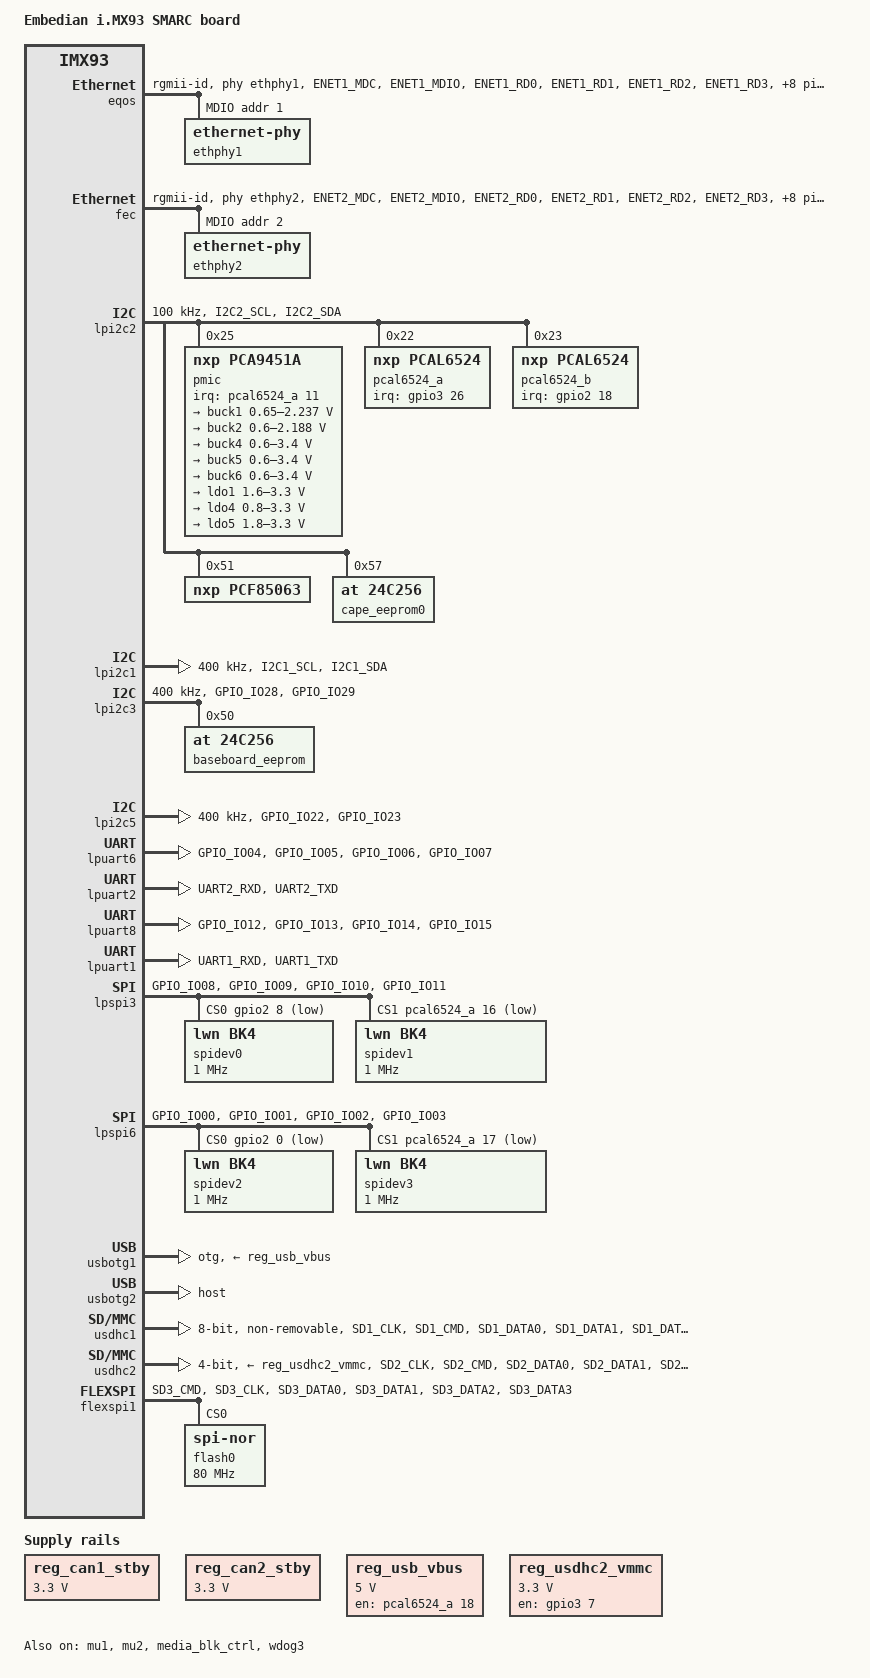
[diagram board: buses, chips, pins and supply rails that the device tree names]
// SPDX-License-Identifier: (GPL-2.0+ OR MIT)
/*
 * Copyright 2022 NXP
 * Copyright 2024 EMBEDIAN
 */

/dts-v1/;

#include <dt-bindings/usb/pd.h>
#include "imx93.dtsi"

/ {
	model = "Embedian i.MX93 SMARC board";
	compatible = "embedian,imx93-smarc", "fsl,imx93";

	aliases {
		rtc0 = &pcf85063;
		ethernet1 = &fec;	/* Let eth1addr mac address pass from U-Boot EEPROM */
	 };

	chosen {
	#if defined(CONFIG_CONSOLE_SER3)
		bootargs = "console=ttyLP0,115200";
		stdout-path = &lpuart1;
	#endif
	#if defined(CONFIG_CONSOLE_SER2)
		bootargs = "console=ttyLP7,115200";
		stdout-path = &lpuart8;
	#endif
	#if defined(CONFIG_CONSOLE_SER1)
		bootargs = "console=ttyLP1,115200";
		stdout-path = &lpuart2;
	#endif
	#if defined(CONFIG_CONSOLE_SER0)
		bootargs = "console=ttyLP5,115200";
		stdout-path = &lpuart6;
	#endif
	};

	reserved-memory {
		#address-cells = <2>;
		#size-cells = <2>;
		ranges;

		linux,cma {
			compatible = "shared-dma-pool";
			reusable;
			alloc-ranges = <0 0x80000000 0 0x40000000>;
			size = <0 0x10000000>;
			linux,cma-default;
		};
	};

	reg_can1_stby: regulator-can1-stby {
		compatible = "regulator-fixed";
		regulator-name = "can1-stby";
		regulator-min-microvolt = <3300000>;
		regulator-max-microvolt = <3300000>;
	};

	reg_can2_stby: regulator-can2-stby {
		compatible = "regulator-fixed";
		regulator-name = "can2-stby";
		regulator-min-microvolt = <3300000>;
		regulator-max-microvolt = <3300000>;
	};

	reg_usb_vbus: regulator-vbus {
		compatible = "regulator-fixed";
		regulator-name = "USB_VBUS";
		regulator-min-microvolt = <5000000>;
		regulator-max-microvolt = <5000000>;
		gpio = <&pcal6524_a 18 GPIO_ACTIVE_HIGH>;
		enable-active-high;
		regulator-always-on;
	};

	reg_usdhc2_vmmc: regulator-usdhc2 {
		compatible = "regulator-fixed";
		pinctrl-names = "default";
		pinctrl-0 = <&pinctrl_reg_usdhc2_vmmc>;
		regulator-name = "VSD_3V3";
		regulator-min-microvolt = <3300000>;
		regulator-max-microvolt = <3300000>;
		gpio = <&gpio3 7 GPIO_ACTIVE_HIGH>;
		off-on-delay-us = <12000>;
		enable-active-high;
	};

	dsi_host: dsi-host {
		compatible = "synopsys,dw-mipi-dsi";
		status = "disabled";
	};

	rm67199_panel {
		compatible = "raydium,rm67199";
		dsi-lanes = <4>;
		video-mode = <2>;	/* 0: burst mode
					 * 1: non-burst mode with sync event
					 * 2: non-burst mode with sync pulse
					 */
		width-mm = <68>;
		height-mm = <121>;
		status = "disabled";

		port {
			panel_in: endpoint {
				remote-endpoint = <&dsi_out>;
			};
		};
	};
};

&dphy {
	status = "disabled";
};

&dsi {
	status = "disabled";

	ports {
		port@1 {
			dsi_out: endpoint {
				remote-endpoint = <&panel_in>;
			};
		};
	};
};

&mu1 {
	status = "okay";
};

&mu2 {
	status = "okay";
};

&eqos {
	pinctrl-names = "default";
	pinctrl-0 = <&pinctrl_eqos>;
	phy-mode = "rgmii-id";
	phy-handle = <&ethphy1>;
	status = "okay";

	mdio {
		compatible = "snps,dwmac-mdio";
		#address-cells = <1>;
		#size-cells = <0>;
		clock-frequency = <5000000>;

		ethphy1: ethernet-phy@1 {
			reg = <1>;
			eee-broken-1000t;
		};
	};
};

&fec {
	pinctrl-names = "default";
	pinctrl-0 = <&pinctrl_fec>;
	phy-mode = "rgmii-id";
	phy-handle = <&ethphy2>;
	fsl,magic-packet;
	status = "okay";

	mdio {
		#address-cells = <1>;
		#size-cells = <0>;
		clock-frequency = <5000000>;

		ethphy2: ethernet-phy@2 {
			reg = <2>;
			eee-broken-1000t;
		};
	};
};

&lcdif {
	status = "disabled";

	assigned-clock-rates = <484000000>, <121000000>, <400000000>, <133333333>;
};

/* I2C_PM */
&lpi2c2 {
	#address-cells = <1>;
	#size-cells = <0>;
	clock-frequency = <100000>;
	pinctrl-names = "default", "sleep";
	pinctrl-0 = <&pinctrl_lpi2c2>;
	pinctrl-1 = <&pinctrl_lpi2c2>;
	status = "okay";

	pmic@25 {
		compatible = "nxp,pca9451a";
		reg = <0x25>;
		interrupt-parent = <&pcal6524_a>;
		interrupts = <11 IRQ_TYPE_EDGE_FALLING>;

		regulators {
			buck1: BUCK1 {
				regulator-name = "BUCK1";
				regulator-min-microvolt = <650000>;
				regulator-max-microvolt = <2237500>;
				regulator-boot-on;
				regulator-always-on;
				regulator-ramp-delay = <3125>;
			};

			buck2: BUCK2 {
				regulator-name = "BUCK2";
				regulator-min-microvolt = <600000>;
				regulator-max-microvolt = <2187500>;
				regulator-boot-on;
				regulator-always-on;
				regulator-ramp-delay = <3125>;
			};

			buck4: BUCK4{
				regulator-name = "BUCK4";
				regulator-min-microvolt = <600000>;
				regulator-max-microvolt = <3400000>;
				regulator-boot-on;
				regulator-always-on;
			};

			buck5: BUCK5{
				regulator-name = "BUCK5";
				regulator-min-microvolt = <600000>;
				regulator-max-microvolt = <3400000>;
				regulator-boot-on;
				regulator-always-on;
			};

			buck6: BUCK6 {
				regulator-name = "BUCK6";
				regulator-min-microvolt = <600000>;
				regulator-max-microvolt = <3400000>;
				regulator-boot-on;
				regulator-always-on;
			};

			ldo1: LDO1 {
				regulator-name = "LDO1";
				regulator-min-microvolt = <1600000>;
				regulator-max-microvolt = <3300000>;
				regulator-boot-on;
				regulator-always-on;
			};

			ldo4: LDO4 {
				regulator-name = "LDO4";
				regulator-min-microvolt = <800000>;
				regulator-max-microvolt = <3300000>;
				regulator-boot-on;
				regulator-always-on;
			};

			ldo5: LDO5 {
				regulator-name = "LDO5";
				regulator-min-microvolt = <1800000>;
				regulator-max-microvolt = <3300000>;
				regulator-boot-on;
				regulator-always-on;
			};
		};
	};

	/*
	 * PCAL6524 24-port GPIO expander
	 *  0-W_DISABLE1#
	 *  1-SD_INT#
	 *  2-WL_RESET#
	 *  3-BT_RESET#
	 *  4-WL_WAKE_OUT#
	 *  5-BT_WAKE_OUT#
	 *  6-WL_WAKE_IN#
	 *  7-BT_WAKE_IN#
	 *  8-TPM_IRQ#
	 *  9-TPM_PP#
	 * 10-SD2_WP#
	 * 11-PMIC_INT#
	 * 12-WLAN_PWR_EN
	 * 13-ENET1_INT#
	 * 14-ENET2_INT#
	 * 15-x
	 * 16-SPI0_CS1
	 * 17-eSPI_CS1
	 * 18-USB1_EN
	 * 19-USB1_OC#
	 * 20-LCD0_VDD_EN
	 * 21-LCD0_BKLT_EN
	 * 22-LCD1_VDD_EN
	 * 23-LCD1_BKLT_EN
	 */
	pcal6524_a: gpio@22 {
		compatible = "nxp,pcal6524";
		pinctrl-names = "default";
		pinctrl-0 = <&pinctrl_pcal6524_a>;
		reg = <0x22>;
		gpio-controller;
		#gpio-cells = <2>;
		interrupt-controller;
		#interrupt-cells = <2>;
		interrupt-parent = <&gpio3>;
		interrupts = <26 IRQ_TYPE_LEVEL_LOW>;

		w_disable1_hog {
			gpio-hog;
			gpios = <0 GPIO_ACTIVE_LOW>;
			output-high;
			line-name = "w_disable1";
		};

		sd_int_hog {
			gpio-hog;
			gpios = <1 GPIO_ACTIVE_LOW>;
			input;
			line-name = "sd_int";
		};

		wl_reset_hog {
			gpio-hog;
			gpios = <2 GPIO_ACTIVE_LOW>;
			output-high;
			line-name = "wl_reset";
		};

		bt_reset_hog {
			gpio-hog;
			gpios = <3 GPIO_ACTIVE_LOW>;
			output-high;
			line-name = "bt_reset";
		};

		wl_wake_out_hog {
			gpio-hog;
			gpios = <4 GPIO_ACTIVE_LOW>;
			output-low;
			line-name = "wl_wake_out";
		};

		bt_wake_out_hog {
			gpio-hog;
			gpios = <5 GPIO_ACTIVE_LOW>;
			output-low;
			line-name = "bt_wake_out";
		};

		wl_wake_in_hog {
			gpio-hog;
			gpios = <6 GPIO_ACTIVE_LOW>;
			input;
			line-name = "wl_wake_in";
		};

		bt_wake_in_hog {
			gpio-hog;
			gpios = <7 GPIO_ACTIVE_LOW>;
			input;
			line-name = "bt_wake_in";
		};

		tpm_irq_hog {
			gpio-hog;
			gpios = <8 GPIO_ACTIVE_LOW>;
			input;
			line-name = "tpm_irq";
		};

		tpm_pp_hog {
			gpio-hog;
			gpios = <9 GPIO_ACTIVE_HIGH>;
			output-high;
			line-name = "tpm_pp";
		};

		sd2_wp_hog {
			gpio-hog;
			gpios = <10 GPIO_ACTIVE_HIGH>;
			input;
			line-name = "sd2_wp";
		};

		pmic_int_hog {
			gpio-hog;
			gpios = <11 GPIO_ACTIVE_LOW>;
			input;
			line-name = "pmic_int";
		};

		enet1_int_hog {
			gpio-hog;
			gpios = <13 GPIO_ACTIVE_LOW>;
			input;
			line-name = "enet1_init";
		};

		enet2_int_hog {
			gpio-hog;
			gpios = <14 GPIO_ACTIVE_LOW>;
			input;
			line-name = "enet2_init";
		};

		usb0_en_hog {
			gpio-hog;
			gpios = <18 GPIO_ACTIVE_HIGH>;
			output-high;
			line-name = "usb0_en";
		};

		usb0_oc_hog {
			gpio-hog;
			gpios = <19 GPIO_ACTIVE_LOW>;
			input;
			line-name = "usb0_oc";
		};

		/*lcd0_vdd_en_hog {
			gpio-hog;
			gpios = <20 GPIO_ACTIVE_HIGH>;
			output-high;
			line-name = "lcd0_vdd_en";
		};*/

		/*lcd0_bklt_en_hog {
			gpio-hog;
			gpios = <21 GPIO_ACTIVE_HIGH>;
			output-high;
			line-name = "lcd0_bklt_en";
		};

		lcd1_vdd_en_hog {
			gpio-hog;
			gpios = <22 GPIO_ACTIVE_HIGH>;
			output-high;
			line-name = "lcd1_vdd_en";
		};

		lcd1_bklt_en_hog {
			gpio-hog;
			gpios = <23 GPIO_ACTIVE_HIGH>;
			output-high;
			line-name = "lcd1_bklt_en";
		};*/
	};

	/*
	 * PCAL6524 24-port GPIO expander
	 *  0-GPIO0
	 *  1-GPIO1
	 *  2-GPIO2
	 *  3-GPIO3
	 *  4-GPIO4
	 *  5-GPIO6
	 *  6-GPIO7
	 *  7-GPIO8
	 *  8-GPIO9
	 *  9-GPIO10
	 * 10-GPIO11
	 * 11-GPIO12
	 * 12-GPIO13
	 * 13-x
	 * 14-x
	 * 15-IMX_RESET_OUT
	 * 16-LID#
	 * 17-SLEEP#
	 * 18-CHARGING#
	 * 19-BATLOW#
	 * 20-CHARGER_PRSNT#
	 * 21-BOOT_SEL0#
	 * 22-BOOT_SEL1#
	 * 23-BOOT_SEL2#
	 */
	pcal6524_b: gpio@23 {
		compatible = "nxp,pcal6524";
		pinctrl-names = "default";
		pinctrl-0 = <&pinctrl_pcal6524_b>;
		reg = <0x23>;
		gpio-controller;
		#gpio-cells = <2>;
		interrupt-controller;
		#interrupt-cells = <2>;
		interrupt-parent = <&gpio2>;
		interrupts = <18 IRQ_TYPE_LEVEL_LOW>;

		gpio0_hog {
			gpio-hog;
			gpios = <0 GPIO_ACTIVE_HIGH>;
			output-low;
			line-name = "gpio0";
		};

		gpio1_hog {
			gpio-hog;
			gpios = <1 GPIO_ACTIVE_HIGH>;
			output-low;
			line-name = "gpio1";
		};

		gpio2_hog {
			gpio-hog;
			gpios = <2 GPIO_ACTIVE_HIGH>;
			output-low;
			line-name = "gpio2";
		};

		gpio3_hog {
			gpio-hog;
			gpios = <3 GPIO_ACTIVE_HIGH>;
			output-low;
			line-name = "gpio3";
		};

		gpio4_hog {
			gpio-hog;
			gpios = <4 GPIO_ACTIVE_HIGH>;
			output-low;
			line-name = "gpio4";
		};

		gpio6_hog {
			gpio-hog;
			gpios = <5 GPIO_ACTIVE_HIGH>;
			input;
			line-name = "gpio6";
		};

		gpio7_hog {
			gpio-hog;
			gpios = <6 GPIO_ACTIVE_HIGH>;
			input;
			line-name = "gpio7";
		};

		gpio8_hog {
			gpio-hog;
			gpios = <7 GPIO_ACTIVE_HIGH>;
			input;
			line-name = "gpio8";
		};

		gpio9_hog {
			gpio-hog;
			gpios = <8 GPIO_ACTIVE_HIGH>;
			input;
			line-name = "gpio9";
		};

		gpio10_hog {
			gpio-hog;
			gpios = <9 GPIO_ACTIVE_HIGH>;
			input;
			line-name = "gpio10";
		};

		gpio11_hog {
			gpio-hog;
			gpios = <10 GPIO_ACTIVE_HIGH>;
			input;
			line-name = "gpio11";
		};

		gpio12_hog {
			gpio-hog;
			gpios = <11 GPIO_ACTIVE_HIGH>;
			input;
			line-name = "gpio12";
		};

		gpio13_hog {
			gpio-hog;
			gpios = <12 GPIO_ACTIVE_HIGH>;
			input;
			line-name = "gpio13";
		};

		imx_reset_out_hog {
			gpio-hog;
			gpios = <15 GPIO_ACTIVE_HIGH>;
			output-low;
			line-name = "imx_reset_out";
		};

		lid_hog {
			gpio-hog;
			gpios = <16 GPIO_ACTIVE_LOW>;
			input;
			line-name = "lid";
		};

		sleep_hog {
			gpio-hog;
			gpios = <17 GPIO_ACTIVE_LOW>;
			input;
			line-name = "sleep";
		};

		charging_hog {
			gpio-hog;
			gpios = <18 GPIO_ACTIVE_LOW>;
			input;
			line-name = "charging";
		};

		batlow_hog {
			gpio-hog;
			gpios = <19 GPIO_ACTIVE_LOW>;
			input;
			line-name = "batlow";
		};

		charger_prsnt_hog {
			gpio-hog;
			gpios = <20 GPIO_ACTIVE_LOW>;
			input;
			line-name = "charger_prsnt";
		};

		boot_sel0_hog {
			gpio-hog;
			gpios = <21 GPIO_ACTIVE_LOW>;
			input;
			line-name = "boot_sel0";
		};

		boot_sel1_hog {
			gpio-hog;
			gpios = <22 GPIO_ACTIVE_LOW>;
			input;
			line-name = "boot_sel1";
		};

		boot_sel2_hog {
			gpio-hog;
			gpios = <23 GPIO_ACTIVE_LOW>;
			input;
			line-name = "boot_sel2";
		};
	};

	pcf85063: rtc@51 {
		compatible = "nxp,pcf85063";
		reg = <0x51>;
	};

	cape_eeprom0: cape_eeprom@57 {
		compatible = "at,24c256";
		reg = <0x57>;
	};
};

/* I2C_CAM0 */
&lpi2c1 {
	#address-cells = <1>;
	#size-cells = <0>;
	clock-frequency = <400000>;
	pinctrl-names = "default", "sleep";
	pinctrl-0 = <&pinctrl_lpi2c1>;
	pinctrl-1 = <&pinctrl_lpi2c1>;
	status = "okay";
};

/* I2C_GP */
&lpi2c3 {
	#address-cells = <1>;
	#size-cells = <0>;
	clock-frequency = <400000>;
	pinctrl-names = "default", "sleep";
	pinctrl-0 = <&pinctrl_lpi2c3>;
	pinctrl-1 = <&pinctrl_lpi2c3>;
	status = "okay";

	baseboard_eeprom: baseboard_eeprom@50 {
		compatible = "at,24c256";
		reg = <0x50>;
	};
};

/* I2C_LCD */
&lpi2c5 {
	#address-cells = <1>;
	#size-cells = <0>;
	clock-frequency = <400000>;
	pinctrl-names = "default", "sleep";
	pinctrl-0 = <&pinctrl_lpi2c5>;
	pinctrl-1 = <&pinctrl_lpi2c5>;
	status = "okay";
};

&lpuart6 { /* SER0 */
	pinctrl-names = "default";
	pinctrl-0 = <&pinctrl_uart6>;
	status = "okay";
};

&lpuart2 { /* SER1 */
	pinctrl-names = "default";
	pinctrl-0 = <&pinctrl_uart2>;
	status = "okay";
};

&lpuart8 { /* SER2 */
	pinctrl-names = "default";
	pinctrl-0 = <&pinctrl_uart8>;
	status = "okay";
};

&lpuart1 { /* console, SER3 */
	pinctrl-names = "default";
	pinctrl-0 = <&pinctrl_uart1>;
	status = "okay";
};

/* SPI0 */
&lpspi3 {
	fsl,spi-num-chipselects = <2>;
	pinctrl-names = "default", "sleep";
	pinctrl-0 = <&pinctrl_lpspi3>;
	cs-gpios = <&gpio2 8 GPIO_ACTIVE_LOW>, <&pcal6524_a 16 GPIO_ACTIVE_LOW>;
	status = "okay";

	spidev0: spi@0 {
		reg = <0>;
		compatible = "lwn,bk4";
		spi-max-frequency = <1000000>;
	};

	spidev1: spi@1 {
		reg = <1>;
		compatible = "lwn,bk4";
		spi-max-frequency = <1000000>;
	};
};

/* eSPI */
&lpspi6 {
	fsl,spi-num-chipselects = <2>;
	pinctrl-names = "default", "sleep";
	pinctrl-0 = <&pinctrl_lpspi6>;
	cs-gpios = <&gpio2 0 GPIO_ACTIVE_LOW>, <&pcal6524_a 17 GPIO_ACTIVE_LOW>;
	status = "okay";

	spidev2: spi@0 {
		reg = <0>;
		compatible = "lwn,bk4";
		spi-max-frequency = <1000000>;
	};

	spidev3: spi@1 {
		reg = <1>;
		compatible = "lwn,bk4";
		spi-max-frequency = <1000000>;
	};
};

&media_blk_ctrl {
	status = "okay";
};

&usbotg1 {
	vbus-supply = <&reg_usb_vbus>;
	dr_mode = "otg";
	hnp-disable;
	srp-disable;
	adp-disable;
	usb-role-switch;
	disable-over-current;
	samsung,picophy-pre-emp-curr-control = <3>;
	samsung,picophy-dc-vol-level-adjust = <7>;
	status = "okay";
};

&usbotg2 {
	dr_mode = "host";
	hnp-disable;
	srp-disable;
	adp-disable;
	usb-role-switch;
	disable-over-current;
	samsung,picophy-pre-emp-curr-control = <3>;
	samsung,picophy-dc-vol-level-adjust = <7>;
	status = "okay";
};

&usdhc1 {
	pinctrl-names = "default", "state_100mhz", "state_200mhz";
	pinctrl-0 = <&pinctrl_usdhc1>;
	pinctrl-1 = <&pinctrl_usdhc1_100mhz>;
	pinctrl-2 = <&pinctrl_usdhc1_200mhz>;
	bus-width = <8>;
	non-removable;
	status = "okay";
};

&usdhc2 {
	pinctrl-names = "default", "state_100mhz", "state_200mhz";
	pinctrl-0 = <&pinctrl_usdhc2>, <&pinctrl_usdhc2_gpio>;
	pinctrl-1 = <&pinctrl_usdhc2_100mhz>, <&pinctrl_usdhc2_gpio>;
	pinctrl-2 = <&pinctrl_usdhc2_200mhz>, <&pinctrl_usdhc2_gpio>;
	cd-gpios = <&gpio3 00 GPIO_ACTIVE_LOW>;
	vmmc-supply = <&reg_usdhc2_vmmc>;
	bus-width = <4>;
	status = "okay";
	no-sdio;
	no-mmc;
};

&usdhc3 {
	status = "disabled";
};



&flexspi1 {
	pinctrl-names = "default";
	pinctrl-0 = <&pinctrl_flexspi>;
	assigned-clock-rates = <80000000>;
	status = "okay";

	flash0: flash@0 {
		reg = <0>;
		#address-cells = <1>;
		#size-cells = <1>;
		compatible = "jedec,spi-nor";
		spi-max-frequency = <80000000>;
		spi-tx-bus-width = <4>;
		spi-rx-bus-width = <4>;
	};
};

&iomuxc {
	pinctrl_flexcan2: flexcan2grp {
		fsl,pins = <
			MX93_PAD_GPIO_IO25__CAN2_TX	0x139e
			MX93_PAD_GPIO_IO27__CAN2_RX	0x139e
		>;
	};

	/* I2C_CAM0 */
	pinctrl_lpi2c1: lpi2c1grp {
		fsl,pins = <
			MX93_PAD_I2C1_SCL__LPI2C1_SCL			0x40000b9e
			MX93_PAD_I2C1_SDA__LPI2C1_SDA			0x40000b9e
		>;
	};

	pinctrl_lpi2c2: lpi2c2grp {
		fsl,pins = <
			MX93_PAD_I2C2_SCL__LPI2C2_SCL			0x40000b9e
			MX93_PAD_I2C2_SDA__LPI2C2_SDA			0x40000b9e
		>;
	};

	pinctrl_pcal6524_a: pcal6524_agrp {
		fsl,pins = <
			MX93_PAD_CCM_CLKO1__GPIO3_IO26			0x31e
		>;
	};

	pinctrl_pcal6524_b: pcal6524_bgrp {
		fsl,pins = <
			MX93_PAD_GPIO_IO18__GPIO2_IO18			0x31e
		>;
	};

	pinctrl_eqos: eqosgrp {
		fsl,pins = <
			MX93_PAD_ENET1_MDC__ENET_QOS_MDC			0x57e
			MX93_PAD_ENET1_MDIO__ENET_QOS_MDIO			0x57e
			MX93_PAD_ENET1_RD0__ENET_QOS_RGMII_RD0			0x57e
			MX93_PAD_ENET1_RD1__ENET_QOS_RGMII_RD1			0x57e
			MX93_PAD_ENET1_RD2__ENET_QOS_RGMII_RD2			0x57e
			MX93_PAD_ENET1_RD3__ENET_QOS_RGMII_RD3			0x57e
			MX93_PAD_ENET1_RXC__CCM_ENET_QOS_CLOCK_GENERATE_RX_CLK	0x5fe
			MX93_PAD_ENET1_RX_CTL__ENET_QOS_RGMII_RX_CTL		0x57e
			MX93_PAD_ENET1_TD0__ENET_QOS_RGMII_TD0			0x57e
			MX93_PAD_ENET1_TD1__ENET_QOS_RGMII_TD1			0x57e
			MX93_PAD_ENET1_TD2__ENET_QOS_RGMII_TD2			0x57e
			MX93_PAD_ENET1_TD3__ENET_QOS_RGMII_TD3			0x57e
			MX93_PAD_ENET1_TXC__CCM_ENET_QOS_CLOCK_GENERATE_TX_CLK	0x5fe
			MX93_PAD_ENET1_TX_CTL__ENET_QOS_RGMII_TX_CTL		0x57e
		>;
	};

	pinctrl_flexspi: flexspigrp {
		fsl,pins = <
			MX93_PAD_SD3_CMD__FLEXSPI1_A_SS0_B      0x3fe
			MX93_PAD_SD3_CLK__FLEXSPI1_A_SCLK       0x3fe
			MX93_PAD_SD3_DATA0__FLEXSPI1_A_DATA00   0x3fe
			MX93_PAD_SD3_DATA1__FLEXSPI1_A_DATA01   0x3fe
			MX93_PAD_SD3_DATA2__FLEXSPI1_A_DATA02   0x3fe
			MX93_PAD_SD3_DATA3__FLEXSPI1_A_DATA03   0x3fe
		>;
	};

	pinctrl_lpi2c3: lpi2c3grp {
		fsl,pins = <
			MX93_PAD_GPIO_IO28__LPI2C3_SDA			0x40000b9e
			MX93_PAD_GPIO_IO29__LPI2C3_SCL			0x40000b9e
		>;
	};

	pinctrl_lpi2c5: lpi2c5grp {
		fsl,pins = <
			MX93_PAD_GPIO_IO22__LPI2C5_SDA			0x40000b9e
			MX93_PAD_GPIO_IO23__LPI2C5_SCL			0x40000b9e
		>;
	};

	pinctrl_fec: fecgrp {
		fsl,pins = <
			MX93_PAD_ENET2_MDC__ENET1_MDC			0x57e
			MX93_PAD_ENET2_MDIO__ENET1_MDIO			0x57e
			MX93_PAD_ENET2_RD0__ENET1_RGMII_RD0		0x57e
			MX93_PAD_ENET2_RD1__ENET1_RGMII_RD1		0x57e
			MX93_PAD_ENET2_RD2__ENET1_RGMII_RD2		0x57e
			MX93_PAD_ENET2_RD3__ENET1_RGMII_RD3		0x57e
			MX93_PAD_ENET2_RXC__ENET1_RGMII_RXC		0x5fe
			MX93_PAD_ENET2_RX_CTL__ENET1_RGMII_RX_CTL	0x57e
			MX93_PAD_ENET2_TD0__ENET1_RGMII_TD0		0x57e
			MX93_PAD_ENET2_TD1__ENET1_RGMII_TD1		0x57e
			MX93_PAD_ENET2_TD2__ENET1_RGMII_TD2		0x57e
			MX93_PAD_ENET2_TD3__ENET1_RGMII_TD3		0x57e
			MX93_PAD_ENET2_TXC__ENET1_RGMII_TXC		0x5fe
			MX93_PAD_ENET2_TX_CTL__ENET1_RGMII_TX_CTL	0x57e
		>;
	};

	pinctrl_uart1: uart1grp {
		fsl,pins = <
			MX93_PAD_UART1_RXD__LPUART1_RX			0x31e
			MX93_PAD_UART1_TXD__LPUART1_TX			0x31e
		>;
	};

	pinctrl_uart2: uart2grp {
		fsl,pins = <
			MX93_PAD_UART2_RXD__LPUART2_RX			0x31e
			MX93_PAD_UART2_TXD__LPUART2_TX			0x31e
		>;
	};

	pinctrl_uart6: uart6grp {
		fsl,pins = <
			MX93_PAD_GPIO_IO04__LPUART6_TX	0x31e
			MX93_PAD_GPIO_IO05__LPUART6_RX	0x31e
			MX93_PAD_GPIO_IO06__LPUART6_CTS_B	0x31e
			MX93_PAD_GPIO_IO07__LPUART6_RTS_B	0x31e
		>;
	};

	pinctrl_uart8: uart8grp {
		fsl,pins = <
			MX93_PAD_GPIO_IO12__LPUART8_TX	0x31e
			MX93_PAD_GPIO_IO13__LPUART8_RX	0x31e
			MX93_PAD_GPIO_IO14__LPUART8_CTS_B	0x31e
			MX93_PAD_GPIO_IO15__LPUART8_RTS_B	0x31e
		>;
	};

	pinctrl_pwm_lvds0: pwmlvds0grp {
		fsl,pins = <
			MX93_PAD_GPIO_IO24__TPM3_CH3		0x57e
		>;
	};

	pinctrl_pwm_lvds1: pwmlvds1grp {
		fsl,pins = <
			MX93_PAD_GPIO_IO21__TPM4_CH1		0x57e
		>;
	};

	pinctrl_lpspi3: lpspi3grp {
		fsl,pins = <
			MX93_PAD_GPIO_IO08__GPIO2_IO08		0x3fe
			MX93_PAD_GPIO_IO09__LPSPI3_SIN		0x3fe
			MX93_PAD_GPIO_IO10__LPSPI3_SOUT		0x3fe
			MX93_PAD_GPIO_IO11__LPSPI3_SCK		0x3fe
		>;
	};

	pinctrl_lpspi6: lpspi6grp {
		fsl,pins = <
			MX93_PAD_GPIO_IO00__GPIO2_IO00		0x3fe
			MX93_PAD_GPIO_IO01__LPSPI6_SIN		0x3fe
			MX93_PAD_GPIO_IO02__LPSPI6_SOUT		0x3fe
			MX93_PAD_GPIO_IO03__LPSPI6_SCK		0x3fe
		>;
	};

	/* need to config the SION for data and cmd pad, refer to ERR052021 */
	pinctrl_usdhc1: usdhc1grp {
		fsl,pins = <
			MX93_PAD_SD1_CLK__USDHC1_CLK		0x1582
			MX93_PAD_SD1_CMD__USDHC1_CMD		0x40001382
			MX93_PAD_SD1_DATA0__USDHC1_DATA0	0x40001382
			MX93_PAD_SD1_DATA1__USDHC1_DATA1	0x40001382
			MX93_PAD_SD1_DATA2__USDHC1_DATA2	0x40001382
			MX93_PAD_SD1_DATA3__USDHC1_DATA3	0x40001382
			MX93_PAD_SD1_DATA4__USDHC1_DATA4	0x40001382
			MX93_PAD_SD1_DATA5__USDHC1_DATA5	0x40001382
			MX93_PAD_SD1_DATA6__USDHC1_DATA6	0x40001382
			MX93_PAD_SD1_DATA7__USDHC1_DATA7	0x40001382
			MX93_PAD_SD1_STROBE__USDHC1_STROBE	0x1582
		>;
	};

	/* need to config the SION for data and cmd pad, refer to ERR052021 */
	pinctrl_usdhc1_100mhz: usdhc1-100mhzgrp {
		fsl,pins = <
			MX93_PAD_SD1_CLK__USDHC1_CLK		0x158e
			MX93_PAD_SD1_CMD__USDHC1_CMD		0x4000138e
			MX93_PAD_SD1_DATA0__USDHC1_DATA0	0x4000138e
			MX93_PAD_SD1_DATA1__USDHC1_DATA1	0x4000138e
			MX93_PAD_SD1_DATA2__USDHC1_DATA2	0x4000138e
			MX93_PAD_SD1_DATA3__USDHC1_DATA3	0x4000138e
			MX93_PAD_SD1_DATA4__USDHC1_DATA4	0x4000138e
			MX93_PAD_SD1_DATA5__USDHC1_DATA5	0x4000138e
			MX93_PAD_SD1_DATA6__USDHC1_DATA6	0x4000138e
			MX93_PAD_SD1_DATA7__USDHC1_DATA7	0x4000138e
			MX93_PAD_SD1_STROBE__USDHC1_STROBE	0x158e
		>;
	};

	/* need to config the SION for data and cmd pad, refer to ERR052021 */
	pinctrl_usdhc1_200mhz: usdhc1-200mhzgrp {
		fsl,pins = <
			MX93_PAD_SD1_CLK__USDHC1_CLK		0x15fe
			MX93_PAD_SD1_CMD__USDHC1_CMD		0x400013fe
			MX93_PAD_SD1_DATA0__USDHC1_DATA0	0x400013fe
			MX93_PAD_SD1_DATA1__USDHC1_DATA1	0x400013fe
			MX93_PAD_SD1_DATA2__USDHC1_DATA2	0x400013fe
			MX93_PAD_SD1_DATA3__USDHC1_DATA3	0x400013fe
			MX93_PAD_SD1_DATA4__USDHC1_DATA4	0x400013fe
			MX93_PAD_SD1_DATA5__USDHC1_DATA5	0x400013fe
			MX93_PAD_SD1_DATA6__USDHC1_DATA6	0x400013fe
			MX93_PAD_SD1_DATA7__USDHC1_DATA7	0x400013fe
			MX93_PAD_SD1_STROBE__USDHC1_STROBE	0x15fe
		>;
	};

	pinctrl_reg_usdhc2_vmmc: regusdhc2vmmcgrp {
		fsl,pins = <
			MX93_PAD_SD2_RESET_B__GPIO3_IO07	0x31e
		>;
	};

	pinctrl_usdhc2_gpio: usdhc2gpiogrp {
		fsl,pins = <
			MX93_PAD_SD2_CD_B__GPIO3_IO00		0x51e
		>;
	};

	/* need to config the SION for data and cmd pad, refer to ERR052021 */
	pinctrl_usdhc2: usdhc2grp {
		fsl,pins = <
			MX93_PAD_SD2_CLK__USDHC2_CLK		0x1582
			MX93_PAD_SD2_CMD__USDHC2_CMD		0x40001382
			MX93_PAD_SD2_DATA0__USDHC2_DATA0	0x40001382
			MX93_PAD_SD2_DATA1__USDHC2_DATA1	0x40001382
			MX93_PAD_SD2_DATA2__USDHC2_DATA2	0x40001382
			MX93_PAD_SD2_DATA3__USDHC2_DATA3	0x40001382
			MX93_PAD_SD2_VSELECT__USDHC2_VSELECT	0x51e
		>;
	};

	/* need to config the SION for data and cmd pad, refer to ERR052021 */
	pinctrl_usdhc2_100mhz: usdhc2-100mhzgrp {
		fsl,pins = <
			MX93_PAD_SD2_CLK__USDHC2_CLK		0x158e
			MX93_PAD_SD2_CMD__USDHC2_CMD		0x4000138e
			MX93_PAD_SD2_DATA0__USDHC2_DATA0	0x4000138e
			MX93_PAD_SD2_DATA1__USDHC2_DATA1	0x4000138e
			MX93_PAD_SD2_DATA2__USDHC2_DATA2	0x4000138e
			MX93_PAD_SD2_DATA3__USDHC2_DATA3	0x4000138e
			MX93_PAD_SD2_VSELECT__USDHC2_VSELECT	0x51e
		>;
	};

	/* need to config the SION for data and cmd pad, refer to ERR052021 */
	pinctrl_usdhc2_200mhz: usdhc2-200mhzgrp {
		fsl,pins = <
			MX93_PAD_SD2_CLK__USDHC2_CLK		0x15fe
			MX93_PAD_SD2_CMD__USDHC2_CMD		0x400013fe
			MX93_PAD_SD2_DATA0__USDHC2_DATA0	0x400013fe
			MX93_PAD_SD2_DATA1__USDHC2_DATA1	0x400013fe
			MX93_PAD_SD2_DATA2__USDHC2_DATA2	0x400013fe
			MX93_PAD_SD2_DATA3__USDHC2_DATA3	0x400013fe
			MX93_PAD_SD2_VSELECT__USDHC2_VSELECT	0x51e
		>;
	};
};

&wdog3 {
	status = "okay";
};
